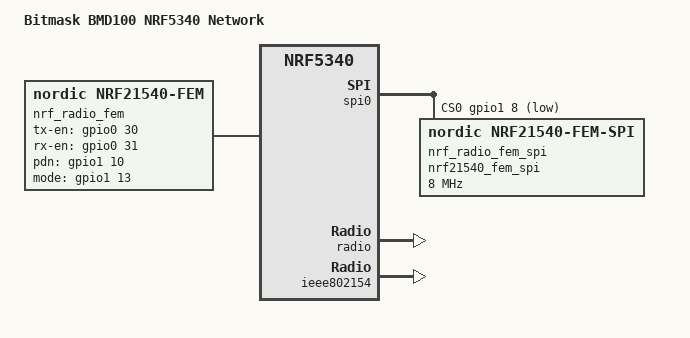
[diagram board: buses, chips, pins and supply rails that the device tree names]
/*
 * Copyright (c) 2020 Nordic Semiconductor ASA
 *
 * SPDX-License-Identifier: Apache-2.0
 */

/dts-v1/;
#include <nordic/nrf5340_cpunet_qkaa.dtsi>
#include "bmd100_common.dtsi"
#include "bmd100_nrf5340_cpunet-pinctrl.dtsi"
#include <zephyr/dt-bindings/input/input-event-codes.h>

/ {
	model = "Bitmask BMD100 NRF5340 Network";
	compatible = "bitmask,bmd100-nrf5340-cpunet";

	chosen {
		zephyr,bt-hci-ipc = &ipc0;
		nordic,802154-spinel-ipc = &ipc0;
		zephyr,sram = &sram1;
		zephyr,flash = &flash1;
		zephyr,code-partition = &slot0_partition;
		zephyr,ieee802154 = &ieee802154;
	};

	/**
	* https://developer.nordicsemi.com/nRF_Connect_SDK/doc/2.1.0-rc2/zephyr/build/dts/api/bindings/gpio/nordic%2Cnrf-gpio-forwarder.html
	*/
	nrf_radio_fem: fem {
		compatible = "nordic,nrf21540-fem";
		status = "okay";
		tx-en-gpios = <&gpio0 30 GPIO_ACTIVE_HIGH>;
		rx-en-gpios = <&gpio0 31 GPIO_ACTIVE_HIGH>;
		pdn-gpios   = <&gpio1 10 GPIO_ACTIVE_HIGH>;
		mode-gpios  = <&gpio1 13 GPIO_ACTIVE_HIGH>;
		// ant-sel-gpios = <&arduino_header 10 GPIO_ACTIVE_HIGH>; /* D4 */
		spi-if = <&nrf_radio_fem_spi>;
		supply-voltage-mv = <3300>;
	};

	/* These aliases are provided for compatibility with samples */
	aliases {
		watchdog0 = &wdt0;
	};
};

&gpiote {
	status = "okay";
};

&gpio0 {
	status = "okay";
};

&gpio1 {
	status = "okay";
};

fem_spi: &spi0 {
	status = "okay";
	cs-gpios = <&gpio1 8 GPIO_ACTIVE_LOW>;

	pinctrl-0 = <&spi0_default>;
	pinctrl-1 = <&spi0_sleep>;
	pinctrl-names = "default", "sleep";

	nrf_radio_fem_spi: nrf21540_fem_spi@0 {
		compatible = "nordic,nrf21540-fem-spi";
		status = "okay";
		reg = <0>;
		spi-max-frequency = <8000000>;
	};
};

&radio {
	fem = <&nrf_radio_fem>;
};

&flash1 {

	partitions {
		compatible = "fixed-partitions";
		#address-cells = <1>;
		#size-cells = <1>;

		boot_partition: partition@0 {
			label = "mcuboot";
			reg = <0x00000000 0xc000>;
		};
		slot0_partition: partition@c000 {
			label = "image-0";
			reg = <0x0000C000 0x17000>;
		};
		slot1_partition: partition@23000 {
			label = "image-1";
			reg = <0x00023000 0x17000>;
		};
		storage_partition: partition@3a000 {
			label = "storage";
			reg = <0x0003a000 0x6000>;
		};
	};
};

&ieee802154 {
	status = "okay";
};

/* Include shared RAM configuration file */
#include <common/nordic/nrf5340_shared_sram_partition.dtsi>
